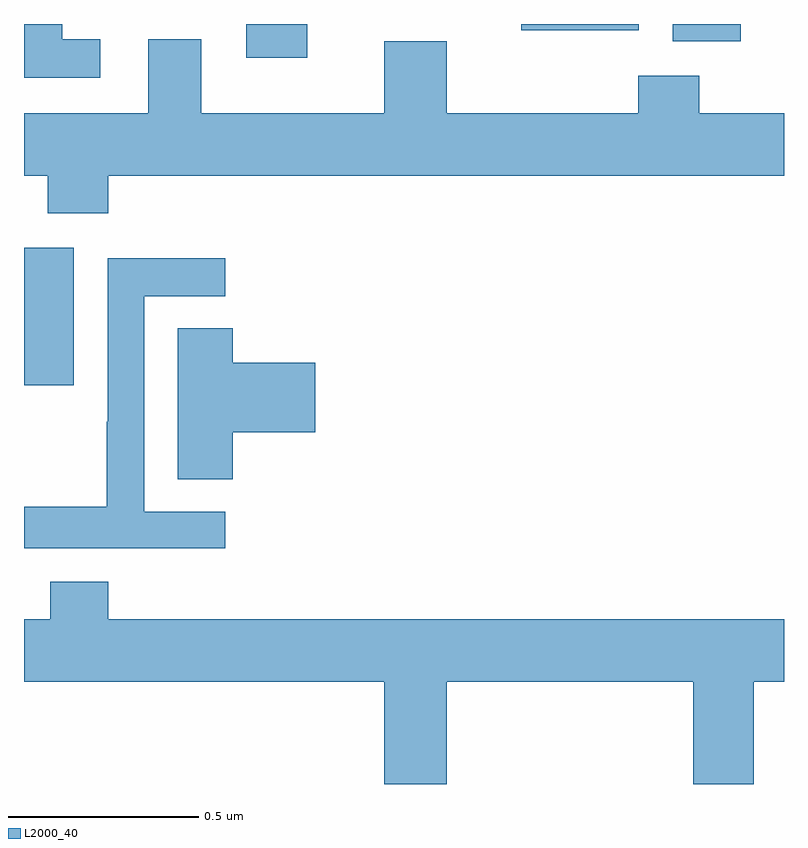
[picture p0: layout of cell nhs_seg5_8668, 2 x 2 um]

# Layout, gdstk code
import gdstk
lib = gdstk.Library(unit=1e-6, precision=1e-09)
def R(c, l, rs):  # rectangles x0, y0, x1, y1
    for r in rs: c.add(gdstk.rectangle(r[:2], r[2:], *l))
def P(c, l, *ps):  # polygons
    for p in ps: c.add(gdstk.Polygon(p, *l))
L2000_40 = (2000, 40)

nhs_seg5_8668 = lib.new_cell('nhs_seg5_8668')
R(nhs_seg5_8668, L2000_40, [(224,882.849,224.131,883.21), (224.585,883.71,224.746,883.799), (225.707,883.754,225.886,883.799), (225.309,883.783,225.618,883.799)])
P(nhs_seg5_8668, L2000_40, [(224.2,883.759),(224.101,883.759),(224.101,883.799),(224,883.799),(224,883.658),(224.2,883.658)],
  [(224.222,883.4),(226,883.4),(226,883.564),(225.777,883.564),(225.777,883.663),(225.617,883.663),(225.617,883.564),(225.112,883.564),(225.112,883.753),(224.948,883.753),(224.948,883.564),(224.467,883.564),(224.467,883.759),(224.327,883.759),(224.327,883.564),(224,883.564),(224,883.4),(224.062,883.4),(224.062,883.301),(224.222,883.301)],
  [(224.53,882.516),(224.316,882.516),(224.316,883.083),(224.53,883.083),(224.53,883.182),(224.22,883.182),(224.22,882.752),(224.218,882.752),(224.218,882.529),(224,882.529),(224,882.42),(224.53,882.42)],
  [(224.549,882.725),(224.767,882.725),(224.767,882.908),(224.549,882.908),(224.549,882.998),(224.405,882.998),(224.405,882.601),(224.549,882.601)],
  [(225.112,882.068),(225.761,882.068),(225.761,881.799),(225.921,881.799),(225.921,882.068),(226,882.068),(226,882.232),(224.222,882.232),(224.222,882.331),(224.069,882.331),(224.069,882.232),(224,882.232),(224,882.068),(224.948,882.068),(224.948,881.799),(225.112,881.799)])

lib.write_gds('nhs_seg5_8668.gds')
